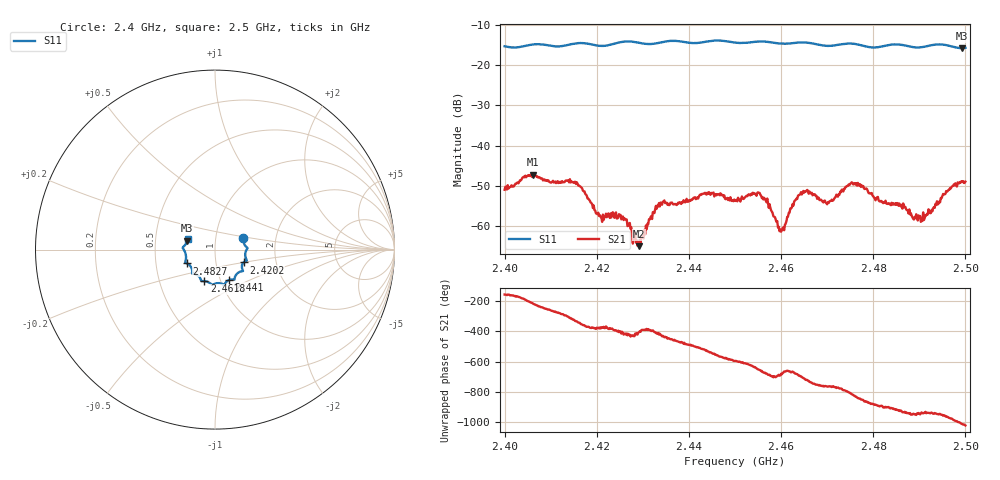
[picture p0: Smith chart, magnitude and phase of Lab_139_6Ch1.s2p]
# Hz S RI R 50
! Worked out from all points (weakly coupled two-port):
!   601 points, 2.4 GHz to 2.5 GHz, reference 50 ohm
!   highest |S21| = -47.22 dB at 2.4062 GHz (marker M1); lowest = -65.0 dB at 2.4292 GHz (marker M2)
!   lowest |S11| = -15.8 dB at 2.4993 GHz (marker M3), VSWR 1.39, Z = 36.5 + j3.79 ohm
!   |S11| at or under -10 dB: start of sweep to end of sweep
!   S12 and S22 are empty: the file has one direction only
!   S11 on the Smith chart (normalised r, x): 2.4 GHz: 1.36, +0.18; 2.4202 GHz: 1.36, -0.20; 2.441 GHz: 1.10, -0.39; 2.4618 GHz: 0.84, -0.30; 2.4827 GHz: 0.72, -0.12; 2.5 GHz: 0.73, +0.09
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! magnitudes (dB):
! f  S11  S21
! 2.4 GHz  -15.3  -51.0
! 2.4062 GHz  -14.9  -47.2
! 2.4167 GHz  -14.5  -50.4
! 2.4202 GHz  -15.2  -57.1
! 2.426 GHz  -14.2  -58.1
! 2.4292 GHz  -14.5  -65.0
! 2.4333 GHz  -14.5  -55.1
! 2.441 GHz  -14.6  -53.0
! 2.4448 GHz  -14.0  -51.8
! 2.45 GHz  -14.4  -53.6
! 2.4553 GHz  -14.2  -51.8
! 2.4602 GHz  -14.7  -61.0
! 2.4618 GHz  -14.7  -56.7
! 2.4643 GHz  -14.4  -51.6
! 2.4667 GHz  -14.6  -51.7
! 2.4702 GHz  -15.3  -54.0
! 2.4758 GHz  -14.7  -49.6
! 2.4827 GHz  -15.2  -53.7
! 2.4833 GHz  -15.0  -54.3
! 2.4908 GHz  -15.5  -56.6
! 2.4993 GHz  -15.8  -48.9
! 2.5 GHz  -15.7  -49.0
